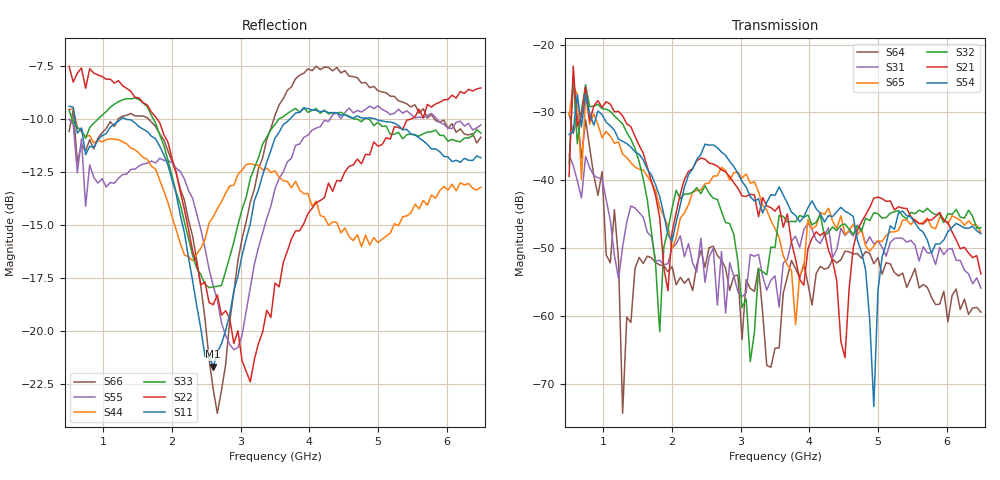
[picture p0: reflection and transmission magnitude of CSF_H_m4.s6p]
!Keysight Technologies,M9804A,MY58100912,A.14.10.03
!Date: Thursday, April 27, 2023 10:28:33
!Correction: S11(C  6-Port  )
!S12(C  6-Port  )
!S13(C  6-Port  )
!S14(C  6-Port  )
!S15(C  6-Port  )
!S16(C  6-Port  )
!S21(C  6-Port  )
!S22(C  6-Port  )
!S23(C  6-Port  )
!S24(C  6-Port  )
!S25(C  6-Port  )
!S26(C  6-Port  )
!S31(C  6-Port  )
!S32(C  6-Port  )
!S33(C  6-Port  )
!S34(C  6-Port  )
!S35(C  6-Port  )
!S36(C  6-Port  )
!S41(C  6-Port  )
!S42(C  6-Port  )
!S43(C  6-Port  )
!S44(C  6-Port  )
!S45(C  6-Port  )
!S46(C  6-Port  )
!S51(C  6-Port  )
!S52(C  6-Port  )
!S53(C  6-Port  )
!S54(C  6-Port  )
!S55(C  6-Port  )
!S56(C  6-Port  )
!S61(C  6-Port  )
!S62(C  6-Port  )
!S63(C  6-Port  )
!S64(C  6-Port  )
!S65(C  6-Port  )
!S66(C  6-Port  )
!S6P File: Measurement: :
# Hz S  RI  R 50
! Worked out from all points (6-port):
!   101 points, 500 MHz to 6.5 GHz, reference 50 ohm
!   strongest paths, dB at 500 MHz, 2 GHz, 3.5 GHz, 5 GHz, 6.5 GHz:
!     S54: -33.3, -49.0, -42.2, -56.3, -47.9
!     S21: -39.4, -47.7, -44.5, -42.5, -53.8
!     S32: -37.6, -44.1, -49.9, -44.9, -47.0
!     S65: -30.4, -50.1, -47.1, -48.9, -47.7
!     S31: -36.3, -50.0, -54.1, -48.9, -55.9
!     S64: -30.1, -52.7, -64.7, -51.4, -59.4
!   lowest |S11| = -21.7 dB at 2.6 GHz (marker M1), VSWR 1.18, Z = 42.6 + j1.99 ohm
!   |S11| at or under -10 dB: 588.1 MHz to 1.249 GHz (661.2 MHz wide, 72 % of centre); 1.335 GHz to 3.713 GHz (2.378 GHz wide, 94.2 % of centre); 4.971 GHz to end of sweep
